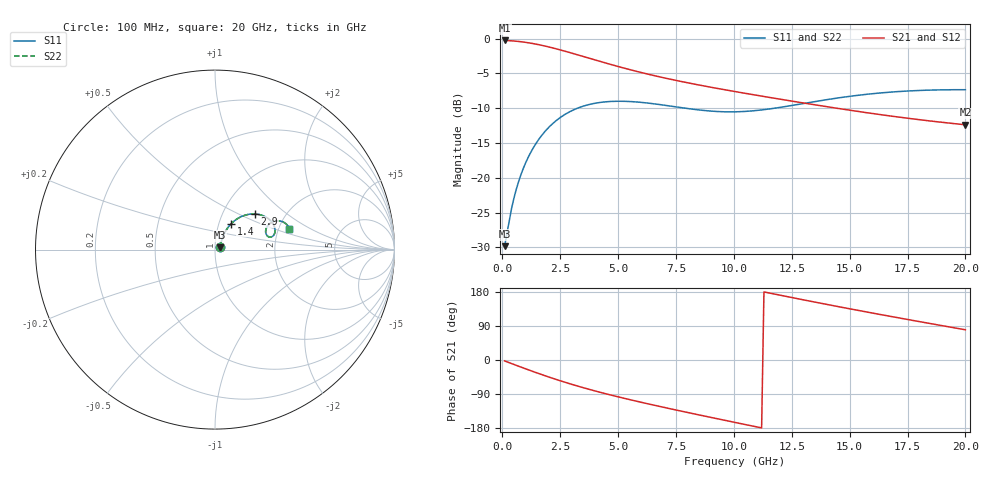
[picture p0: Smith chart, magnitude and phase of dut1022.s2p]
! Touchstone file exported from HFSS 2024.1.0
!  File:  C:/UserFiles/LocalFiles/RDL_TSV_Batchsim/temp_RDL_TSV_1022_1780081832.aedt
!  Generated:  03:29:36 AM May 30, 2026
!  Design:  RDL_TSV
!  Project:  temp_RDL_TSV_1022_1780081832
!  Setup:  Setup1
!  Solution:  Sweep
! Variables:
!  dtsv = 8.11um
!  hbump = 3um
!  htsv = 78.62um
!  ldown = 685.24um
!  lrdl = 549.37um
!  p = 40
!  p1 = 49.91um
!  rhole = 10um
!  subl = 4253.2um
!  t = 450um
!  tdown = 3.42um
!  trdl = 4.99um
!  viad = 10um
!  wdown = 11.67um
!  wrdl = 13.79um
!  xbump = 18um
# GHz S MA R 50.000000
! Terminal data exported
! Port[1] = TM1_1_T1
! Port[2] = TM1_4_T1
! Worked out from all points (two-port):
!   200 points, 100 MHz to 20 GHz, reference 50 ohm
!   highest |S21| = -0.26 dB at 100 MHz (marker M1); lowest = -12.4 dB at 20 GHz (marker M2)
!   |S21| within 3 dB of the highest: start of sweep to 4.21 GHz
!   lowest |S11| = -29.8 dB at 100 MHz (marker M3), VSWR 1.07, Z = 53 + j1.33 ohm
!   |S11| at or under -10 dB: start of sweep to 3.245 GHz; 7.906 GHz to 11.76 GHz (3.856 GHz wide, 39.2 % of centre)
!   |S22| runs from -29.8 to -7.3 dB; largest |S21 - S12| = 1e-14
!   S11 on the Smith chart (normalised r, x): 100 MHz: 1.06, +0.03; 1.4 GHz: 1.14, +0.34; 2.9 GHz: 1.41, +0.62; 20 GHz: 2.29, +0.64
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0.1  0.03226 22.8  0.9703 -2.4  0.9703 -2.4  0.03226 22.8
! Gamma 0 0 0 0
! Port Impedance 50 0 50 0
0.4  0.06011 52.9  0.9646 -9.4  0.9646 -9.4  0.06011 52.9
0.6  0.08223 58.2  0.9584 -14.0  0.9584 -14.0  0.08223 58.2
0.8  0.1047 60.0  0.9504 -18.6  0.9504 -18.6  0.1047 60.0
1  0.1271 60.2  0.9407 -23.1  0.9407 -23.1  0.1271 60.2
1.4  0.1706 58.0  0.9168 -32.0  0.9168 -32.0  0.1706 58.0
2.1  0.2386 51.0  0.8642 -46.8  0.8642 -46.8  0.2386 51.0
2.5  0.2709 46.5  0.8304 -54.8  0.8304 -54.8  0.2709 46.4
2.9  0.2977 41.9  0.7956 -62.4  0.7956 -62.4  0.2977 41.8
3.5  0.3274 35.3  0.7441 -73.2  0.7441 -73.2  0.3274 35.2
4.3  0.3492 27.6  0.6801 -86.4  0.6801 -86.4  0.3491 27.5
5.1  0.3549 21.4  0.6241 -98.7  0.6241 -98.7  0.3548 21.3
5.9  0.3495 16.8  0.5762 -110.2  0.5762 -110.2  0.3494 16.8
6.8  0.3359 13.7  0.531 -122.6  0.531 -122.6  0.3357 13.6
8.4  0.3086 13.3  0.4675 -143.7  0.4675 -143.7  0.3083 13.2
10.1  0.298 18.3  0.4151 -165.4  0.4151 -165.4  0.2977 18.3
11.6  0.3134 23.3  0.3765 175.9  0.3765 175.9  0.3131 23.2
13.4  0.3507 25.7  0.3365 153.9  0.3365 153.9  0.3502 25.6
15  0.3849 24.6  0.3061 135.1  0.3061 135.1  0.3845 24.5
16.7  0.412 21.7  0.2789 115.8  0.2789 115.8  0.4115 21.7
18.3  0.4259 18.6  0.2581 98.2  0.2581 98.2  0.4254 18.5
20  0.4295 15.5  0.2405 79.7  0.2405 79.7  0.429 15.4
